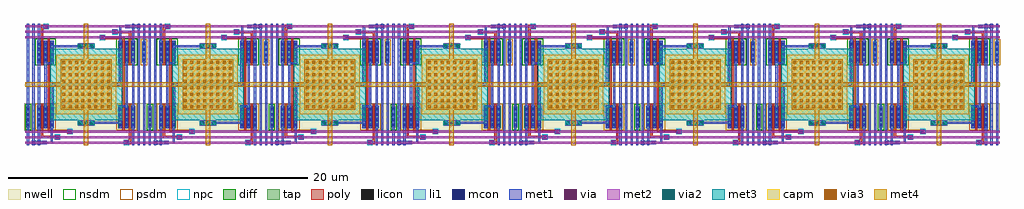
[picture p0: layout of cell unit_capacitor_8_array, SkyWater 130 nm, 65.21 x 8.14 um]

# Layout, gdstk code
from math import pi, radians
import gdstk
lib = gdstk.Library(unit=1e-6, precision=1e-09)
def R(c, l, rs):  # rectangles x0, y0, x1, y1
    for r in rs: c.add(gdstk.rectangle(r[:2], r[2:], *l))
def A(c, l, x, y, w, h, nx, ny, dx, dy):  # array of equal rectangles
    R(c, l, [(x+i*dx, y+j*dy, x+i*dx+w, y+j*dy+h) for i in range(nx) for j in range(ny)])
nwell = (64, 20)
diff = (65, 20)
tap = (65, 44)
poly = (66, 20)
licon = (66, 44)
li1 = (67, 20)
mcon = (67, 44)
met1 = (68, 20)
via = (68, 44)
met2 = (69, 20)
via2 = (69, 44)
met3 = (70, 20)
via3 = (70, 44)
met4 = (71, 20)
capm = (89, 44)
nsdm = (93, 44)
psdm = (94, 20)
npc = (95, 20)

cap_mim_m3__base__9 = lib.new_cell('cap_mim_m3__base$$9')
R(cap_mim_m3__base__9, met3, [(-0.4,-0.4,4.4,4.4)])
A(cap_mim_m3__base__9, via3, 0.4, 0.4, 0.2, 0.2, 6, 6, 0.43, 0.43)
A(cap_mim_m3__base__9, via3, 2.975, 0.4, 0.2, 0.2, 1, 6, 0, 0.43)
A(cap_mim_m3__base__9, via3, 3.4, 0.4, 0.2, 0.2, 1, 6, 0, 0.43)
A(cap_mim_m3__base__9, via3, 0.4, 2.975, 0.2, 0.2, 6, 2, 0.43, 0.425)
R(cap_mim_m3__base__9, via3, [(2.975,2.975,3.175,3.175), (3.4,2.975,3.6,3.175), (2.975,3.4,3.175,3.6), (3.4,3.4,3.6,3.6)])
R(cap_mim_m3__base__9, met4, [(0.3,0.3,3.7,3.7)])
R(cap_mim_m3__base__9, capm, [(0,0,4,4)])

pfet_01v8__10 = lib.new_cell('pfet_01v8$$10')
R(pfet_01v8__10, nwell, [(-0.445,-0.18,0.385,1.68)])
R(pfet_01v8__10, diff, [(-0.265,0,0,1.5), (0,0,0.15,1.5), (0.15,0,0.205,1.5)])
R(pfet_01v8__10, poly, [(0,-0.15,0.15,-0.095), (0,-0.095,0.15,0), (0,0,0.15,1.5), (0,1.5,0.15,1.595), (0,1.595,0.15,1.65)])
A(pfet_01v8__10, licon, -0.225, 0.155, 0.17, 0.17, 1, 4, 0, 0.34)
R(pfet_01v8__10, li1, [(-0.225,0,-0.055,1.5)])
A(pfet_01v8__10, mcon, -0.225, 0.125, 0.17, 0.17, 1, 4, 0, 0.36)
R(pfet_01v8__10, met1, [(-0.255,0,-0.025,1.5)])
R(pfet_01v8__10, psdm, [(-0.405,-0.13,0.215,1.63)])

nfet_01v8__11 = lib.new_cell('nfet_01v8$$11')
R(nfet_01v8__11, diff, [(-0.055,0,0,1.5), (0,0,0.15,1.5), (0.15,0,0.415,1.5)])
R(nfet_01v8__11, poly, [(0,-0.15,0.15,-0.095), (0,-0.095,0.15,0), (0,0,0.15,1.5), (0,1.5,0.15,1.595), (0,1.595,0.15,1.65)])
A(nfet_01v8__11, licon, 0.205, 0.155, 0.17, 0.17, 1, 4, 0, 0.34)
R(nfet_01v8__11, li1, [(0.205,0,0.375,1.5)])
A(nfet_01v8__11, mcon, 0.205, 0.125, 0.17, 0.17, 1, 4, 0, 0.36)
R(nfet_01v8__11, met1, [(0.175,0,0.405,1.5)])
R(nfet_01v8__11, nsdm, [(-0.065,-0.13,0.555,1.63)])

pfet_01v8__12 = lib.new_cell('pfet_01v8$$12')
R(pfet_01v8__12, nwell, [(-0.405,-0.18,0.595,1.68)])
R(pfet_01v8__12, diff, [(-0.225,0,0,1.5), (0,0,0.15,1.5), (0.15,0,0.415,1.5)])
R(pfet_01v8__12, poly, [(0,-0.15,0.15,-0.095), (0,-0.095,0.15,0), (0,0,0.15,1.5), (0,1.5,0.15,1.595), (0,1.595,0.15,1.65)])
A(pfet_01v8__12, licon, -0.225, 0.155, 0.17, 0.17, 1, 4, 0, 0.34)
A(pfet_01v8__12, licon, 0.205, 0.155, 0.17, 0.17, 1, 4, 0, 0.34)
R(pfet_01v8__12, li1, [(-0.225,0,-0.055,1.5), (0.205,0,0.375,1.5)])
A(pfet_01v8__12, mcon, -0.225, 0.125, 0.17, 0.17, 1, 4, 0, 0.36)
A(pfet_01v8__12, mcon, 0.205, 0.125, 0.17, 0.17, 1, 4, 0, 0.36)
R(pfet_01v8__12, met1, [(-0.255,0,-0.025,1.5), (0.175,0,0.405,1.5)])
R(pfet_01v8__12, psdm, [(-0.235,-0.13,0.555,1.63)])

nfet_01v8__13 = lib.new_cell('nfet_01v8$$13')
R(nfet_01v8__13, diff, [(-0.265,0,0,1.5), (0,0,0.15,1.5), (0.15,0,0.375,1.5)])
R(nfet_01v8__13, poly, [(0,-0.15,0.15,-0.095), (0,-0.095,0.15,0), (0,0,0.15,1.5), (0,1.5,0.15,1.595), (0,1.595,0.15,1.65)])
A(nfet_01v8__13, licon, -0.225, 0.155, 0.17, 0.17, 1, 4, 0, 0.34)
A(nfet_01v8__13, licon, 0.205, 0.155, 0.17, 0.17, 1, 4, 0, 0.34)
R(nfet_01v8__13, li1, [(-0.225,0,-0.055,1.5), (0.205,0,0.375,1.5)])
A(nfet_01v8__13, mcon, -0.225, 0.125, 0.17, 0.17, 1, 4, 0, 0.36)
A(nfet_01v8__13, mcon, 0.205, 0.125, 0.17, 0.17, 1, 4, 0, 0.36)
R(nfet_01v8__13, met1, [(-0.255,0,-0.025,1.5), (0.175,0,0.405,1.5)])
R(nfet_01v8__13, nsdm, [(-0.405,-0.13,0.385,1.63)])

polyconn__1 = lib.new_cell('polyConn$$1')
R(polyconn__1, poly, [(-0.135,-0.165,0.135,0.165)])
R(polyconn__1, licon, [(-0.085,-0.085,0.085,0.085)])
R(polyconn__1, li1, [(-0.085,-0.165,0.085,0.165)])
R(polyconn__1, mcon, [(-0.085,-0.085,0.085,0.085)])
R(polyconn__1, met1, [(-0.13,-0.16,0.13,0.16)])
R(polyconn__1, npc, [(-0.185,-0.185,0.185,0.185)])

m1m2_c__2 = lib.new_cell('M1M2_C$$2')
R(m1m2_c__2, met1, [(-0.13,-0.16,0.13,0.16)])
R(m1m2_c__2, via, [(-0.075,-0.075,0.075,0.075)])
R(m1m2_c__2, met2, [(-0.13,-0.16,0.13,0.16)])

l1m1_c__3 = lib.new_cell('L1M1_C$$3')
R(l1m1_c__3, li1, [(-0.085,-0.115,0.085,0.115)])
R(l1m1_c__3, mcon, [(-0.085,-0.085,0.085,0.085)])
R(l1m1_c__3, met1, [(-0.115,-0.145,0.115,0.145)])

l1m1_c__4 = lib.new_cell('L1M1_C$$4')
R(l1m1_c__4, li1, [(-0.085,-0.115,0.085,0.115)])
R(l1m1_c__4, mcon, [(-0.085,-0.085,0.085,0.085)])
R(l1m1_c__4, met1, [(-0.145,-0.115,0.145,0.115)])

nwelltap__5 = lib.new_cell('nwellTap$$5')
R(nwelltap__5, nwell, [(-0.265,-0.925,0.265,0.925)])
R(nwelltap__5, tap, [(-0.085,-0.745,0.085,0.745)])
A(nwelltap__5, licon, -0.085, -0.625, 0.17, 0.17, 1, 4, 0, 0.36)
R(nwelltap__5, li1, [(-0.085,-0.705,0.085,0.705)])
A(nwelltap__5, mcon, -0.085, -0.625, 0.17, 0.17, 1, 4, 0, 0.36)
R(nwelltap__5, met1, [(-0.115,-0.685,0.115,0.685)])
R(nwelltap__5, nsdm, [(-0.21,-0.87,0.21,0.87)])

subtap__6 = lib.new_cell('subTap$$6')
R(subtap__6, tap, [(-0.085,-0.745,0.085,0.745)])
A(subtap__6, licon, -0.085, -0.625, 0.17, 0.17, 1, 4, 0, 0.36)
R(subtap__6, li1, [(-0.085,-0.705,0.085,0.705)])
A(subtap__6, mcon, -0.085, -0.625, 0.17, 0.17, 1, 4, 0, 0.36)
R(subtap__6, met1, [(-0.115,-0.685,0.115,0.685)])
R(subtap__6, psdm, [(-0.21,-0.87,0.21,0.87)])

m2m3_c__7 = lib.new_cell('M2M3_C$$7')
R(m2m3_c__7, met2, [(-0.54,-0.185,0.54,0.185)])
A(m2m3_c__7, via2, -0.5, -0.1, 0.2, 0.2, 3, 1, 0.4, 0)
R(m2m3_c__7, met3, [(-0.565,-0.165,0.565,0.165)])

m1m2_c__8 = lib.new_cell('M1M2_C$$8')
R(m1m2_c__8, met1, [(-0.5,-0.16,0.5,0.16)])
A(m1m2_c__8, via, -0.395, -0.075, 0.15, 0.15, 3, 1, 0.32, 0)
R(m1m2_c__8, met2, [(-0.54,-0.185,0.54,0.185)])

unit_capacitor = lib.new_cell('unit_capacitor')
R(unit_capacitor, nwell, [(-0.08,0.095,8.14,1.955)])
A(unit_capacitor, met1, 0.115, -0.87, 0.14, 0.14, 3, 2, 0.37, 8)
A(unit_capacitor, met1, 7.145, -0.87, 0.14, 0.14, 3, 2, 0.37, 8)
A(unit_capacitor, met2, 0, -0.755, 0.14, 0.14, 1, 3, 0, 0.37)
A(unit_capacitor, met2, 8, -0.755, 0.14, 0.14, 1, 3, 0, 0.37)
A(unit_capacitor, met2, 0, 6.275, 0.14, 0.14, 1, 3, 0, 0.37)
A(unit_capacitor, met2, 8, 6.275, 0.14, 0.14, 1, 3, 0, 0.37)
R(unit_capacitor, met4, [(3.92,-0.87,4.22,-0.615), (0,3.05,0.255,3.35), (7.885,3.05,8.14,3.35), (3.92,7.015,4.22,7.27)])
unit_capacitor.add(gdstk.FlexPath([(4.07,7.015),(4.07,4.9)], 0.3, ends="flush", simple_path=True, layer=71, datatype=20))  # met4
unit_capacitor.add(gdstk.FlexPath([(0.255,3.2),(2.37,3.2)], 0.3, ends="flush", simple_path=True, layer=71, datatype=20))  # met4
unit_capacitor.add(gdstk.FlexPath([(8.075,3.2),(5.77,3.2)], 0.3, ends="flush", simple_path=True, layer=71, datatype=20))  # met4
unit_capacitor.add(gdstk.FlexPath([(4.07,-0.615),(4.07,1.5)], 0.3, ends="flush", simple_path=True, layer=71, datatype=20))  # met4
unit_capacitor.add(gdstk.FlexPath([(6.83,7.085),(7.585,7.085)], 0.23, ends="flush", simple_path=True, layer=67, datatype=20))  # li1
unit_capacitor.add(gdstk.FlexPath([(1.31,-0.685),(0.555,-0.685)], 0.23, ends="flush", simple_path=True, layer=67, datatype=20))  # li1
unit_capacitor.add(gdstk.FlexPath([(6.57,4.475),(6.57,1.925)], 0.15, ends="flush", simple_path=True, layer=66, datatype=20))  # poly
unit_capacitor.add(gdstk.FlexPath([(1.57,0.115),(2.99,0.115)], 0.15, ends=(0.075, 0.165), simple_path=True, layer=66, datatype=20))  # poly
unit_capacitor.add(gdstk.FlexPath([(6.57,6.295),(6.57,6.285)], 0.15, ends=(0, 0.075), simple_path=True, layer=66, datatype=20))  # poly
unit_capacitor.add(gdstk.FlexPath([(7,6.715),(5.985,6.715)], 0.15, ends=(0.075, 0), simple_path=True, layer=66, datatype=20))  # poly
unit_capacitor.add(gdstk.FlexPath([(1.14,0.125),(1.14,-0.315)], 0.15, ends=(0, 0.075), simple_path=True, layer=66, datatype=20))  # poly
unit_capacitor.add(gdstk.FlexPath([(1.14,6.275),(1.14,7.205)], 0.15, ends="flush", simple_path=True, layer=66, datatype=20))  # poly
unit_capacitor.add(gdstk.FlexPath([(6.57,6.285),(5.15,6.285)], 0.15, ends=(0.075, 0.165), simple_path=True, layer=66, datatype=20))  # poly
unit_capacitor.add(gdstk.FlexPath([(1.57,0.105),(1.57,0.115)], 0.15, ends=(0, 0.075), simple_path=True, layer=66, datatype=20))  # poly
unit_capacitor.add(gdstk.FlexPath([(5.15,6.285),(5.15,6.345)], 0.33, ends=(0.075, 0), simple_path=True, layer=66, datatype=20))  # poly
unit_capacitor.add(gdstk.FlexPath([(2.99,0.115),(2.99,0.055)], 0.33, ends=(0.075, 0), simple_path=True, layer=66, datatype=20))  # poly
unit_capacitor.add(gdstk.FlexPath([(7,6.275),(7,6.715)], 0.15, ends=(0, 0.075), simple_path=True, layer=66, datatype=20))  # poly
unit_capacitor.add(gdstk.FlexPath([(1.57,4.495),(1.57,1.905)], 0.15, ends="flush", simple_path=True, layer=66, datatype=20))  # poly
unit_capacitor.add(gdstk.FlexPath([(7,0.125),(7,-0.805)], 0.15, ends="flush", simple_path=True, layer=66, datatype=20))  # poly
unit_capacitor.add(gdstk.FlexPath([(1.14,-0.315),(2.155,-0.315)], 0.15, ends=(0.075, 0), simple_path=True, layer=66, datatype=20))  # poly
unit_capacitor.add(gdstk.FlexPath([(1.355,1.755),(1.355,4.625)], 0.14, ends=(0, 0.07), simple_path=True, layer=68, datatype=20))  # met1
unit_capacitor.add(gdstk.FlexPath([(1.83,3.2),(6.31,3.2)], 0.14, ends="extended", simple_path=True, layer=68, datatype=20))  # met1
unit_capacitor.add(gdstk.FlexPath([(1.355,4.625),(1.24,4.625)], 0.14, ends=(0.07, 0), simple_path=True, layer=68, datatype=20))  # met1
unit_capacitor.add(gdstk.FlexPath([(6.31,1.755),(6.785,1.755)], 0.14, ends="extended", simple_path=True, layer=68, datatype=20))  # met1
unit_capacitor.add(gdstk.FlexPath([(1.355,4.625),(1.355,4.715)], 0.14, ends="extended", simple_path=True, layer=68, datatype=20))  # met1
unit_capacitor.add(gdstk.FlexPath([(6.355,5.075),(6.355,7.085)], 0.14, ends=(0, 0.07), simple_path=True, layer=68, datatype=20))  # met1
unit_capacitor.add(gdstk.FlexPath([(1.83,1.775),(1.83,3.2)], 0.14, ends=(0, 0.07), simple_path=True, layer=68, datatype=20))  # met1
unit_capacitor.add(gdstk.FlexPath([(7.585,7.27),(7.585,7.085)], 0.14, ends="flush", simple_path=True, layer=68, datatype=20))  # met1
unit_capacitor.add(gdstk.FlexPath([(6.31,3.2),(6.31,4.625)], 0.14, ends=(0.07, 0), simple_path=True, layer=68, datatype=20))  # met1
unit_capacitor.add(gdstk.FlexPath([(0.555,-0.685),(0.555,7.27)], 0.14, ends="flush", simple_path=True, layer=68, datatype=20))  # met1
unit_capacitor.add(gdstk.FlexPath([(1.785,1.325),(1.785,-0.685)], 0.14, ends=(0, 0.07), simple_path=True, layer=68, datatype=20))  # met1
unit_capacitor.add(gdstk.FlexPath([(4.075,5.765),(1.9,5.765)], 0.14, ends="flush", simple_path=True, layer=68, datatype=20))  # met1
unit_capacitor.add(gdstk.FlexPath([(6.355,7.085),(6.83,7.085)], 0.14, ends=(0.07, 0), simple_path=True, layer=68, datatype=20))  # met1
unit_capacitor.add(gdstk.FlexPath([(4.075,0.635),(6.24,0.635)], 0.14, ends="flush", simple_path=True, layer=68, datatype=20))  # met1
unit_capacitor.add(gdstk.FlexPath([(0.555,-0.87),(0.555,-0.685)], 0.14, ends="flush", simple_path=True, layer=68, datatype=20))  # met1
unit_capacitor.add(gdstk.FlexPath([(1.355,4.715),(1.24,4.715)], 0.14, ends=(0.07, 0), simple_path=True, layer=68, datatype=20))  # met1
unit_capacitor.add(gdstk.FlexPath([(1.83,4.625),(1.355,4.625)], 0.14, ends="extended", simple_path=True, layer=68, datatype=20))  # met1
unit_capacitor.add(gdstk.FlexPath([(1.785,-0.685),(1.31,-0.685)], 0.14, ends=(0.07, 0), simple_path=True, layer=68, datatype=20))  # met1
unit_capacitor.add(gdstk.FlexPath([(0.185,7.27),(0.185,-0.87)], 0.14, ends="flush", simple_path=True, layer=68, datatype=20))  # met1
unit_capacitor.add(gdstk.FlexPath([(6.785,1.755),(6.785,4.645)], 0.14, ends=(0.07, 0), simple_path=True, layer=68, datatype=20))  # met1
unit_capacitor.add(gdstk.FlexPath([(0.925,7.27),(0.925,-0.87)], 0.14, ends="flush", simple_path=True, layer=68, datatype=20))  # met1
unit_capacitor.add(gdstk.FlexPath([(7.955,7.27),(7.955,-0.87)], 0.14, ends="flush", simple_path=True, layer=68, datatype=20))  # met1
unit_capacitor.add(gdstk.FlexPath([(7.585,7.085),(7.585,-0.87)], 0.14, ends="flush", simple_path=True, layer=68, datatype=20))  # met1
unit_capacitor.add(gdstk.FlexPath([(7.215,7.27),(7.215,-0.87)], 0.14, ends="flush", simple_path=True, layer=68, datatype=20))  # met1
unit_capacitor.add(gdstk.FlexPath([(0,7.085),(8.14,7.085)], 0.14, ends="flush", simple_path=True, layer=69, datatype=20))  # met2
unit_capacitor.add(gdstk.FlexPath([(0,6.715),(8.14,6.715)], 0.14, ends="flush", simple_path=True, layer=69, datatype=20))  # met2
unit_capacitor.add(gdstk.FlexPath([(0,6.345),(8.14,6.345)], 0.14, ends="flush", simple_path=True, layer=69, datatype=20))  # met2
unit_capacitor.add(gdstk.FlexPath([(0,-0.685),(8.14,-0.685)], 0.14, ends="flush", simple_path=True, layer=69, datatype=20))  # met2
unit_capacitor.add(gdstk.FlexPath([(0,-0.315),(8.14,-0.315)], 0.14, ends="flush", simple_path=True, layer=69, datatype=20))  # met2
unit_capacitor.add(gdstk.FlexPath([(0,0.055),(8.14,0.055)], 0.14, ends="flush", simple_path=True, layer=69, datatype=20))  # met2
unit_capacitor.add(gdstk.Reference(cap_mim_m3__base__9, (2.07,1.2)))
unit_capacitor.add(gdstk.Reference(pfet_01v8__10, (6.495,0.275)))
unit_capacitor.add(gdstk.Reference(pfet_01v8__10, (1.645,0.275), rotation=pi, x_reflection=True))
unit_capacitor.add(gdstk.Reference(nfet_01v8__11, (1.495,4.625)))
unit_capacitor.add(gdstk.Reference(nfet_01v8__11, (6.645,4.625), rotation=pi, x_reflection=True))
unit_capacitor.add(gdstk.Reference(pfet_01v8__12, (1.215,0.275), rotation=pi, x_reflection=True))
unit_capacitor.add(gdstk.Reference(pfet_01v8__12, (6.925,0.275)))
unit_capacitor.add(gdstk.Reference(nfet_01v8__13, (1.065,4.625)))
unit_capacitor.add(gdstk.Reference(nfet_01v8__13, (7.075,4.625), rotation=pi, x_reflection=True))
unit_capacitor.add(gdstk.Reference(polyconn__1, (5.985,6.715), rotation=pi/2))
unit_capacitor.add(gdstk.Reference(polyconn__1, (2.99,0.055), rotation=pi/2))
unit_capacitor.add(gdstk.Reference(polyconn__1, (5.15,6.345), rotation=pi/2))
unit_capacitor.add(gdstk.Reference(polyconn__1, (6.76,-0.67), rotation=pi/2))
unit_capacitor.add(gdstk.Reference(polyconn__1, (1.38,7.07), rotation=pi/2))
unit_capacitor.add(gdstk.Reference(polyconn__1, (2.155,-0.315), rotation=pi/2))
unit_capacitor.add(gdstk.Reference(m1m2_c__2, (5.985,6.715), rotation=pi/2))
unit_capacitor.add(gdstk.Reference(m1m2_c__2, (2.99,0.055), rotation=pi/2))
unit_capacitor.add(gdstk.Reference(m1m2_c__2, (5.15,6.345), rotation=pi/2))
unit_capacitor.add(gdstk.Reference(m1m2_c__2, (6.76,-0.67), rotation=pi/2))
unit_capacitor.add(gdstk.Reference(m1m2_c__2, (1.38,7.07), rotation=pi/2))
unit_capacitor.add(gdstk.Reference(m1m2_c__2, (2.155,-0.315), rotation=pi/2))
unit_capacitor.add(gdstk.Reference(l1m1_c__3, (7.585,7.085)))
unit_capacitor.add(gdstk.Reference(l1m1_c__3, (0.555,-0.685)))
unit_capacitor.add(gdstk.Reference(l1m1_c__4, (6.83,7.085)))
unit_capacitor.add(gdstk.Reference(l1m1_c__4, (1.31,-0.685)))
unit_capacitor.add(gdstk.Reference(nwelltap__5, (0.2,1.025)))
unit_capacitor.add(gdstk.Reference(subtap__6, (7.94,5.365)))
unit_capacitor.add(gdstk.Reference(m2m3_c__7, (4.075,0.635)))
unit_capacitor.add(gdstk.Reference(m2m3_c__7, (4.075,5.765)))
unit_capacitor.add(gdstk.Reference(m1m2_c__8, (4.075,0.635)))
unit_capacitor.add(gdstk.Reference(m1m2_c__8, (4.075,5.765)))
unit_capacitor.add(gdstk.Label('SEL_VREF_N', (7.69,6.715), layer=69, texttype=5))
unit_capacitor.add(gdstk.Label('SEL_VIN', (7.86,6.345), layer=69, texttype=5))
unit_capacitor.add(gdstk.Label('SEL_VREF_P', (7.695,7.085), layer=69, texttype=5))
unit_capacitor.add(gdstk.Label('SEL_VREF_N_N', (7.585,-0.685), layer=69, texttype=5))
unit_capacitor.add(gdstk.Label('SEL_VIN_N', (7.76,0.055), layer=69, texttype=5))
unit_capacitor.add(gdstk.Label('SEL_VREF_P_N', (7.595,-0.315), layer=69, texttype=5))
unit_capacitor.add(gdstk.Label('SEL_VREF_N_N', (0.56,-0.685), layer=69, texttype=5))
unit_capacitor.add(gdstk.Label('SEL_VIN_N', (0.39,0.055), layer=69, texttype=5))
unit_capacitor.add(gdstk.Label('SEL_VREF_P_N', (0.55,-0.315), layer=69, texttype=5))
unit_capacitor.add(gdstk.Label('SEL_VREF_N', (0.45,6.715), layer=69, texttype=5))
unit_capacitor.add(gdstk.Label('SEL_VIN', (0.285,6.345), layer=69, texttype=5))
unit_capacitor.add(gdstk.Label('SEL_VREF_P', (0.45,7.085), layer=69, texttype=5))
unit_capacitor.add(gdstk.Label('VREF_P', (0.925,-0.8), layer=68, texttype=5))
unit_capacitor.add(gdstk.Label('VIN', (0.555,-0.8), layer=68, texttype=5))
unit_capacitor.add(gdstk.Label('VDD', (0.185,-0.8), layer=68, texttype=5))
unit_capacitor.add(gdstk.Label('VSS', (7.955,-0.8), layer=68, texttype=5))
unit_capacitor.add(gdstk.Label('VIN', (7.585,-0.8), layer=68, texttype=5))
unit_capacitor.add(gdstk.Label('VREF_N', (7.215,-0.8), layer=68, texttype=5))
unit_capacitor.add(gdstk.Label('VSS', (7.955,7.2), layer=68, texttype=5))
unit_capacitor.add(gdstk.Label('VIN', (7.585,7.2), layer=68, texttype=5))
unit_capacitor.add(gdstk.Label('VREF_N', (7.215,7.2), layer=68, texttype=5))
unit_capacitor.add(gdstk.Label('VREF_P', (0.925,7.2), layer=68, texttype=5))
unit_capacitor.add(gdstk.Label('VIN', (0.555,7.2), layer=68, texttype=5))
unit_capacitor.add(gdstk.Label('VDD', (0.185,7.2), layer=68, texttype=5))
unit_capacitor.add(gdstk.Label('top_plate', (4.07,-0.745), layer=71, texttype=5))
unit_capacitor.add(gdstk.Label('top_plate', (7.8,3.2), layer=71, texttype=5))
unit_capacitor.add(gdstk.Label('top_plate', (0.34,3.2), layer=71, texttype=5))
unit_capacitor.add(gdstk.Label('top_plate', (4.07,7.16), layer=71, texttype=5))

unit_capacitor_8_array = lib.new_cell('unit_capacitor_8_array')
unit_capacitor_8_array.add(gdstk.Reference(unit_capacitor, (56.98,0.87)))
unit_capacitor_8_array.add(gdstk.Reference(unit_capacitor, (48.84,0.87)))
unit_capacitor_8_array.add(gdstk.Reference(unit_capacitor, (40.7,0.87)))
unit_capacitor_8_array.add(gdstk.Reference(unit_capacitor, (32.56,0.87)))
unit_capacitor_8_array.add(gdstk.Reference(unit_capacitor, (24.42,0.87)))
unit_capacitor_8_array.add(gdstk.Reference(unit_capacitor, (16.28,0.87)))
unit_capacitor_8_array.add(gdstk.Reference(unit_capacitor, (8.14,0.87)))
unit_capacitor_8_array.add(gdstk.Reference(unit_capacitor, (0,0.87)))

lib.write_gds('unit_capacitor_8_array.gds')
